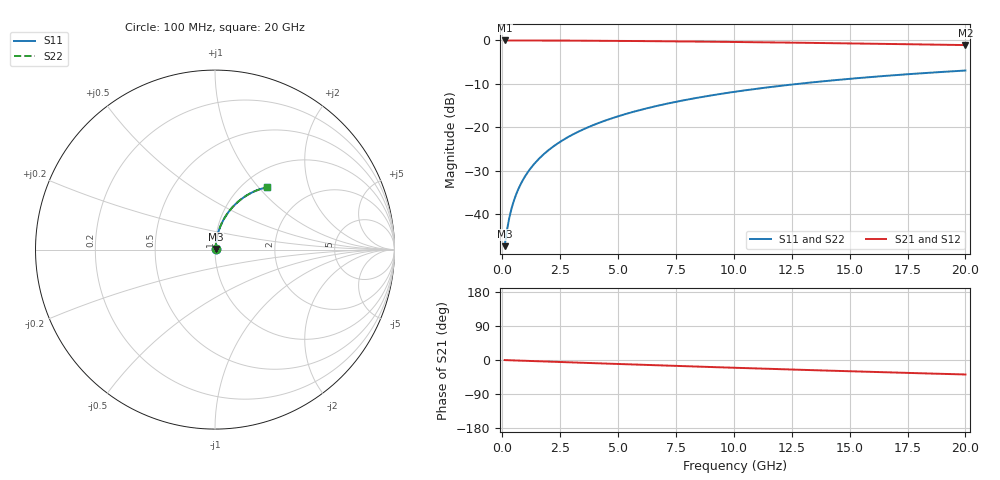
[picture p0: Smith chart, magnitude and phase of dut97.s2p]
! Touchstone file exported from HFSS 2026.1.0
!  File:  C:/ffzhzh/LocalFiles/Ansys_Project_Files/temp_train_BSMRDL_97_1782883336_43084.aedt
!  Generated:  01:23:31 PM Jul  1, 2026
!  Design:  BSMRDL
!  Project:  temp_train_BSMRDL_97_1782883336_43084
! Variables:
!  h_bsmrdl = 4.59um
!  h_ox = 20um
!  h_rdl = 5um
!  h_sub = 80um
!  h_tmrdl = 5um
!  h_tsv = 80um
!  h_via = 3um
!  l_bsmrdl = 475.33um
!  l_sub = 875.33um
!  l_tmrdl = 200um
!  m_sub = 200um
!  pitch = 51.19um
!  r_tsv = 6um
!  s_tmrdl = 10um
!  w_bsmrdl = 11.41um
!  w_sub = 500um
!  w_tmrdl = 12um
!  x_tsv_center1 = 206um
!  x_tsv_center2 = 692.74um
!  x_tsv_center3 = 904.74um
!  x_tsv_center4 = 1391.48um
!  x_tsv_center5 = 1603.48um
!  x_tsv_center6 = 2090.22um
# GHz S MA R 50.000000
! Terminal data exported
! Port[1] = BSM_RDL1_1_T1
! Port[2] = BSM_RDL1_1_T2
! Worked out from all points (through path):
!   200 points, 100 MHz to 20 GHz, reference 50 ohm
!   highest |S21| = -0.03 dB at 100 MHz (marker M1); lowest = -1.1 dB at 20 GHz (marker M2)
!   group delay of S21, straight-line fit = 5.32 ps
!   lowest |S11| = -47.3 dB at 100 MHz (marker M3), VSWR 1.01, Z = 50.3 + j0.283 ohm
!   |S11| at or under -10 dB: start of sweep to 12.77 GHz
!   |S22| runs from -47.3 to -6.9 dB; largest |S21 - S12| = 2.1e-15
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0.1  0.004321 40.6  0.9967 -0.2  0.9967 -0.2  0.004321 40.6
! Gamma 0 0 0 0
! Port Impedance 50 0 50 0
0.2  0.006538 59.1  0.9967 -0.4  0.9967 -0.4  0.006538 59.1
0.3  0.009076 67.5  0.9966 -0.7  0.9966 -0.7  0.009076 67.5
0.4  0.01171 72.1  0.9965 -0.9  0.9965 -0.9  0.01171 72.1
0.5  0.01438 74.8  0.9964 -1.1  0.9964 -1.1  0.01438 74.8
0.6  0.01706 76.7  0.9963 -1.3  0.9963 -1.3  0.01706 76.7
0.8  0.02244 78.9  0.9961 -1.7  0.9961 -1.7  0.02244 78.9
1.1  0.03054 80.5  0.9958 -2.4  0.9958 -2.4  0.03054 80.5
1.5  0.04136 81.3  0.9953 -3.2  0.9953 -3.2  0.04136 81.3
1.8  0.04947 81.5  0.9948 -3.8  0.9948 -3.8  0.04947 81.5
2.1  0.05757 81.4  0.9942 -4.5  0.9942 -4.5  0.05757 81.4
2.7  0.07369 80.8  0.9928 -5.7  0.9928 -5.7  0.07369 80.8
3.5  0.09498 79.6  0.9906 -7.4  0.9906 -7.4  0.09498 79.6
4.2  0.1134 78.4  0.9882 -8.9  0.9882 -8.9  0.1134 78.4
5  0.1341 77.0  0.9851 -10.5  0.9851 -10.5  0.1341 77.0
5.9  0.157 75.3  0.9811 -12.4  0.9811 -12.4  0.157 75.3
6.8  0.1795 73.6  0.9767 -14.2  0.9767 -14.2  0.1795 73.6
8.3  0.2159 70.8  0.9686 -17.1  0.9686 -17.1  0.2159 70.8
10.1  0.2578 67.4  0.9575 -20.6  0.9575 -20.6  0.2578 67.4
13.4  0.3293 61.5  0.9344 -26.8  0.9344 -26.8  0.3293 61.5
16.7  0.3934 55.8  0.9088 -32.7  0.9088 -32.7  0.3934 55.8
20  0.45 50.4  0.8819 -38.2  0.8819 -38.2  0.45 50.4
